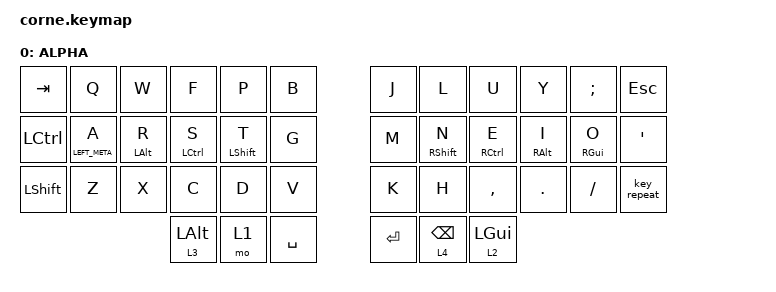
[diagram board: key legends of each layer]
/*
 * Copyright (c) 2020 The ZMK Contributors
 *
 * SPDX-License-Identifier: MIT
 */

#include <behaviors.dtsi>
#include <dt-bindings/zmk/bt.h>
#include <dt-bindings/zmk/ext_power.h>
#include <dt-bindings/zmk/keys.h>

/ {
    behaviors {
        hml: homerow_mods_left {
            compatible = "zmk,behavior-hold-tap";
            label = "HOMEROW_MODS_LEFT_HAND";
            bindings = <&kp>, <&kp>;

            #binding-cells = <2>;
            tapping-term-ms = <280>;
            hold-trigger-key-positions = <6 18 30 39 40 7 8 9 10 11 19 20 21 22 23 31 32 33 34 35 41>;
            quick-tap-ms = <175>;
            require-prior-idle-ms = <150>;
            flavor = "tap-preferred";
        };

        hmr: homerow_mods_right {
            compatible = "zmk,behavior-hold-tap";
            label = "HOMEROW_MODS_RIGHT_HAND";
            bindings = <&kp>, <&kp>;

            #binding-cells = <2>;
            tapping-term-ms = <280>;
            hold-trigger-key-positions = <0 1 2 3 4 5 12 13 14 15 16 17 24 25 26 27 28 29 36 37 38>;
            quick-tap-ms = <175>;
            require-prior-idle-ms = <150>;
            flavor = "tap-preferred";
        };
    };

    combos {
        compatible = "zmk,combos";
        
        /* Define combos here if needed */
    };

    macros {
        /* Define macros here if needed */
    };

    keymap {
        compatible = "zmk,keymap";

        alpha {
            display-name = "ALPHA";

            bindings = <
&kp TAB    &kp Q             &kp W             &kp F                &kp P              &kp B        &kp J      &kp L               &kp U                 &kp Y             &kp SEMICOLON     &kp ESCAPE
&kp LCTRL  &hml LEFT_META A  &hml LALT R       &hml LEFT_CONTROL S  &hml LEFT_SHIFT T  &kp G        &kp M      &hmr RIGHT_SHIFT N  &hmr RIGHT_CONTROL E  &hmr RIGHT_ALT I  &hmr RIGHT_GUI O  &kp SQT
&kp LSHFT  &kp Z             &kp X             &kp C                &kp D              &kp V        &kp K      &kp H               &kp COMMA             &kp PERIOD        &kp SLASH         &key_repeat
                                          &lt 3 LEFT_ALT       &mo 1              &kp SPACE    &kp ENTER  &lt 4 BACKSPACE     &lt 2 LEFT_GUI
            >;
        };

        /* Additional layers like num-nav, media, functions, etc. */
    };

    /* Right Encoder */
    /*encoder_right {
        compatible = "zmk,behavior-encoder";
        label = "ENCODER_RIGHT";
        bindings = <&kp C_VOL_UP>, <&kp C_VOL_DOWN>;  // Volume control
    };*/

    encoder_right {
        compatible = "zmk,behavior-encoder";
        label = "ENCODER_RIGHT";
        bindings = <&kp F2>, <&kp F1>;  // F2 for brightness up, F1 for brightness down
    };
    /* Screen configuration can go here if custom behavior is needed */
};
